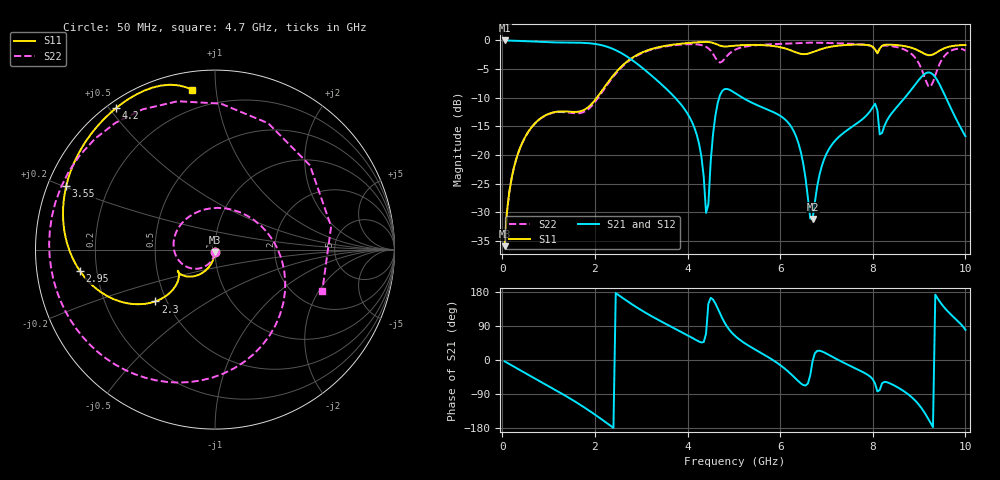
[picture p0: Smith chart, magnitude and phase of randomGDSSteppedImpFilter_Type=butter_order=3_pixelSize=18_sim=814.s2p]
! freq	dB(S11)	phase(S11)	dB(S12)	phase(S12)
!  dB(S21)	phase(S21)	dB(S22)	phase(S22)
!S-par simulation data
#  GHz  S  DB  R 50
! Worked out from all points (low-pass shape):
!   200 points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, 50 MHz to 10 GHz, reference 50 ohm
!   highest |S21| = -0.01 dB at 50 MHz (marker M1); lowest = -31.2 dB at 6.7 GHz (marker M2)
!   |S21| within 3 dB of the highest: start of sweep to 2.728 GHz
!   lowest |S11| = -35.9 dB at 50 MHz (marker M3), VSWR 1.03, Z = 49.9 - j1.6 ohm
!   |S11| at or under -10 dB: start of sweep to 2.042 GHz
!   |S22| runs from -35.9 to -0.4 dB; largest |S21 - S12| = 0
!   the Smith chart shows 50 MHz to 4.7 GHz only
!   S11 on the Smith chart (normalised r, x): 50 MHz: 1.00, -0.03; 2.3 GHz: 0.43, -0.31; 2.95 GHz: 0.14, -0.08; 3.55 GHz: 0.05, +0.20; 4.2 GHz: 0.02, +0.52; 4.7 GHz: 0.09, +0.86
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0.05  -35.91 -92.5  -0.01 -3.6  -0.01 -3.6  -35.92 -93.8
0.5  -16.77 -117.9  -0.14 -34.8  -0.14 -34.8  -16.81 -132.5
1.75  -12.19 -144.7  -0.43 -123.5  -0.43 -123.5  -12.52 76.6
2.3  -7.12 -139.0  -1.20 -170.1  -1.20 -170.1  -7.36 -24.0
2.95  -2.37 -170.9  -4.32 135.3  -4.32 135.3  -2.48 -100.8
3.4  -1.14 164.6  -7.39 103.8  -7.39 103.8  -1.24 -138.9
3.55  -0.90 157.0  -8.52 94.2  -8.52 94.2  -1.01 -150.4
4.2  -0.34 124.8  -16.49 51.7  -16.49 51.7  -0.69 151.9
4.4  -0.27 114.1  -30.10 69.4  -30.10 69.4  -1.12 117.3
4.55  -0.43 105.2  -16.43 159.6  -16.43 159.6  -2.34 67.1
4.7  -0.91 98.1  -9.57 123.2  -9.57 123.2  -3.86 -21.2
4.85  -1.05 93.2  -8.47 88.8  -8.47 88.8  -2.75 -96.8
5.05  -0.90 84.3  -9.31 61.1  -9.31 61.1  -1.54 -143.6
6.1  -1.38 -9.8  -13.75 -22.8  -13.75 -22.8  -0.58 142.2
6.45  -2.35 -95.5  -19.61 -62.1  -19.61 -62.1  -0.44 126.8
6.7  -2.06 -171.1  -31.19 -3.2  -31.19 -3.2  -0.39 115.6
7.25  -0.92 98.0  -16.98 0.5  -16.98 0.5  -0.50 91.7
8.35  -0.74 29.9  -13.38 -60.6  -13.38 -60.6  -0.94 37.8
9.05  -2.04 -2.1  -6.37 -126.6  -6.37 -126.6  -4.94 -57.9
9.3  -2.46 -1.9  -5.94 -177.2  -5.94 -177.2  -7.27 170.8
9.55  -1.35 -7.6  -9.47 137.8  -9.47 137.8  -2.69 85.2
10  -0.81 -26.0  -16.73 79.7  -16.73 79.7  -1.80 21.9
